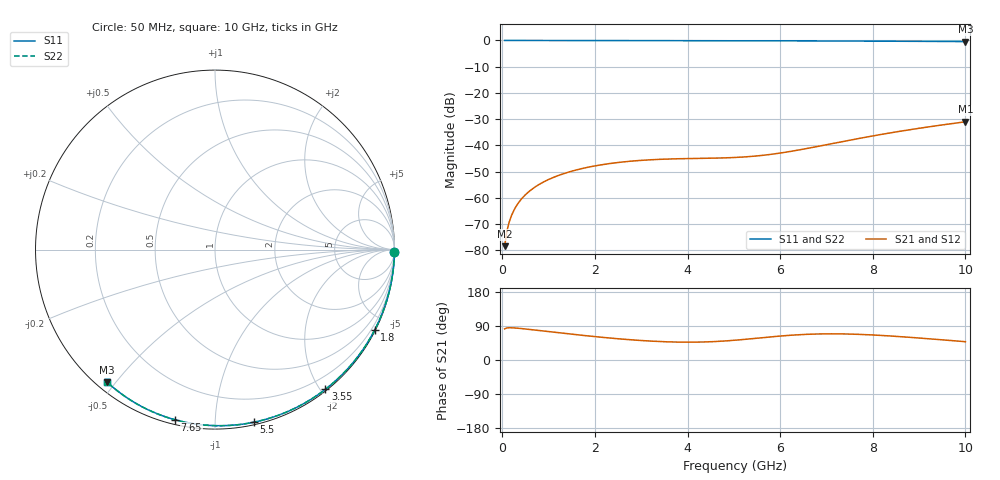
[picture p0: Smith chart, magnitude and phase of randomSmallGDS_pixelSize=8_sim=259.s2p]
! freq	dB(S11)	phase(S11)	dB(S12)	phase(S12)
!  dB(S21)	phase(S21)	dB(S22)	phase(S22)
!S-par simulation data
#  GHz  S  DB  R 50
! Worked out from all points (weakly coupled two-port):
!   200 points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, 50 MHz to 10 GHz, reference 50 ohm
!   highest |S21| = -31.01 dB at 10 GHz (marker M1); lowest = -78.4 dB at 50 MHz (marker M2)
!   lowest |S11| = -0.4 dB at 10 GHz (marker M3), VSWR 40.51, Z = 1.51 - j23.7 ohm
!   |S11| at or under -10 dB: nowhere
!   |S22| runs from -0.4 to 0.0 dB; largest |S21 - S12| = 0
!   S11 on the Smith chart (normalised r, x): 50 MHz: open; 1.8 GHz: 0.04, -4.20; 3.55 GHz: 0.02, -2.07; 5.5 GHz: 0.02, -1.25; 7.65 GHz: 0.02, -0.79; 10 GHz: 0.03, -0.47
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0.05  -0.00 -0.8  -78.42 82.0  -78.42 82.0  -0.00 -0.8
0.1  -0.00 -1.5  -72.64 84.7  -72.64 84.7  -0.00 -1.5
0.15  -0.00 -2.3  -69.17 85.2  -69.17 85.2  -0.00 -2.3
0.2  -0.00 -3.0  -66.69 85.1  -66.69 85.1  -0.00 -3.0
0.25  -0.00 -3.8  -64.77 84.7  -64.77 84.7  -0.00 -3.8
0.35  -0.00 -5.3  -61.87 83.7  -61.87 83.7  -0.00 -5.3
0.5  -0.01 -7.6  -58.81 81.8  -58.81 81.8  -0.01 -7.6
0.7  -0.01 -10.6  -55.96 79.1  -55.96 79.1  -0.01 -10.6
1  -0.02 -15.0  -53.00 75.0  -53.00 75.0  -0.02 -15.0
1.35  -0.03 -20.2  -50.62 70.2  -50.62 70.2  -0.03 -20.2
1.75  -0.03 -26.1  -48.72 64.9  -48.72 64.9  -0.03 -26.1
1.8  -0.03 -26.8  -48.52 64.2  -48.52 64.2  -0.03 -26.8
2.5  -0.05 -36.9  -46.52 56.0  -46.52 56.0  -0.05 -36.9
3.4  -0.07 -49.6  -45.32 48.7  -45.32 48.7  -0.07 -49.6
3.55  -0.07 -51.7  -45.22 48.0  -45.22 48.0  -0.07 -51.7
4.3  -0.09 -61.8  -44.95 47.4  -44.95 47.4  -0.09 -61.8
5.05  -0.11 -71.6  -44.59 52.4  -44.59 52.4  -0.11 -71.7
5.5  -0.12 -77.4  -44.02 57.5  -44.02 57.5  -0.12 -77.4
6.7  -0.18 -92.1  -40.78 68.3  -40.78 68.3  -0.18 -92.1
7.65  -0.23 -103.2  -37.53 67.9  -37.53 67.9  -0.23 -103.3
8.35  -0.28 -111.2  -35.31 63.6  -35.31 63.6  -0.28 -111.2
10  -0.43 -129.3  -31.01 48.3  -31.01 48.3  -0.43 -129.3
